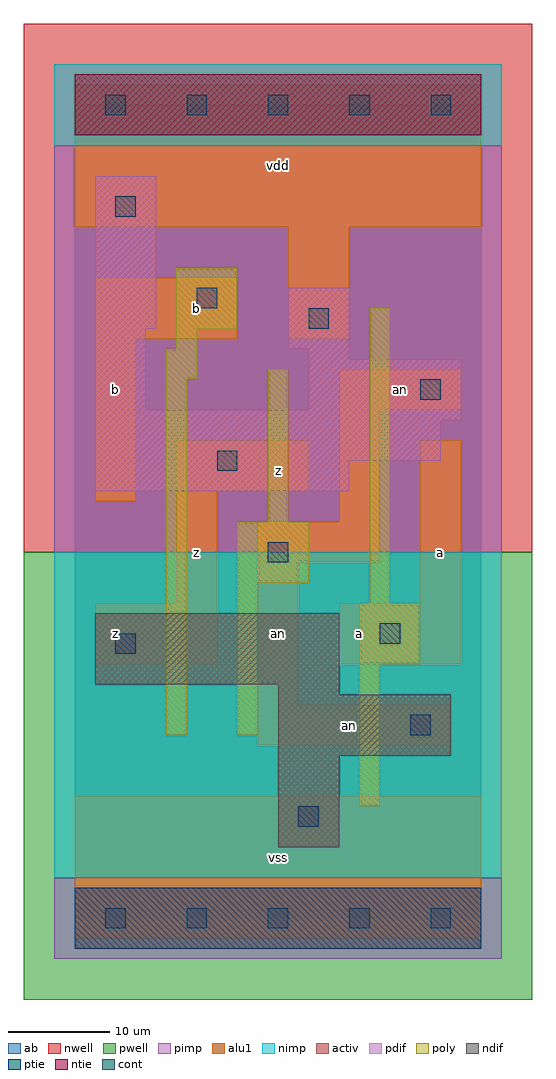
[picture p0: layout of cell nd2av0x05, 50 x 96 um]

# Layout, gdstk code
import gdstk
lib = gdstk.Library(unit=1e-6, precision=1e-09)
def R(c, l, rs):  # rectangles x0, y0, x1, y1
    for r in rs: c.add(gdstk.rectangle(r[:2], r[2:], *l))
def A(c, l, x, y, w, h, nx, ny, dx, dy):  # array of equal rectangles
    R(c, l, [(x+i*dx, y+j*dy, x+i*dx+w, y+j*dy+h) for i in range(nx) for j in range(ny)])
ndif = (3, 0)
pdif = (4, 0)
ntie = (5, 0)
ptie = (6, 0)
cont = (25, 0)
pwell = (41, 0)
nwell = (42, 0)
activ = (43, 0)
pimp = (44, 0)
nimp = (45, 0)
poly = (46, 0)
alu1 = (49, 0)
ab = (63, 0)

nd2av0x05 = lib.new_cell('nd2av0x05')
R(nd2av0x05, ndif, [(20,7,26,16), (20,16,37,22), (20,22,26,23), (2,23,26,30)])
R(nd2av0x05, pdif, [(2,42,27,45), (2,45,36,49), (2,49,38,50), (2,50,7,58), (23,50,38,55), (23,55,27,56), (21,56,27,62), (2,58,8,73)])
R(nd2av0x05, ntie, [(0,77,40,83)])
R(nd2av0x05, ptie, [(0,-3,40,3)])
A(nd2av0x05, cont, 3, -1, 2, 2, 5, 2, 8, 80)
R(nd2av0x05, cont, [(22,9,24,11), (33,18,35,20), (4,26,6,28), (30,27,32,29), (19,35,21,37), (14,44,16,46), (34,51,36,53), (23,58,25,60), (12,60,14,62), (4,69,6,71)])
R(nd2av0x05, pwell, [(-5,-8,45,36)])
R(nd2av0x05, nwell, [(-5,36,45,88)])
R(nd2av0x05, activ, [(0,-3,40,3), (20,7,26,16), (20,16,37,22), (20,22,26,23), (2,23,26,30), (2,42,27,45), (2,45,36,49), (2,49,38,50), (2,50,7,58), (23,50,38,55), (23,55,27,56), (21,56,27,62), (2,58,8,73), (0,77,40,83)])
R(nd2av0x05, pimp, [(-2,-4,42,4), (-2,36,42,76)])
R(nd2av0x05, nimp, [(-2,4,42,36), (-2,76,42,84)])
R(nd2av0x05, poly, [(28,11,30,25), (9,18,11,53), (16,18,18,33), (28,25,34,31), (29,31,31,60), (16,33,23,39), (19,39,21,54), (9,53,12,56), (10,56,12,58), (10,58,16,64)])
R(nd2av0x05, alu1, [(0,-2,40,12), (18,17,37,21), (18,21,22,35), (2,25,14,31), (26,25,38,31), (10,31,14,42), (34,31,38,47), (18,35,30,39), (26,39,30,50), (2,41,6,57), (10,42,23,47), (26,50,38,54), (2,57,16,63), (21,57,27,68), (0,68,40,82)])
R(nd2av0x05, ab, [(0,0,40,80)])
nd2av0x05.add(gdstk.Label('an', (20,28), layer=49, texttype=0))
nd2av0x05.add(gdstk.Label('an', (27,19), layer=49, texttype=0))
nd2av0x05.add(gdstk.Label('an', (32,52), layer=49, texttype=0))
nd2av0x05.add(gdstk.Label('z', (4,28), layer=49, texttype=0))
nd2av0x05.add(gdstk.Label('b', (4,52), layer=49, texttype=0))
nd2av0x05.add(gdstk.Label('z', (12,36), layer=49, texttype=0))
nd2av0x05.add(gdstk.Label('b', (12,60), layer=49, texttype=0))
nd2av0x05.add(gdstk.Label('vss', (20,6), layer=49, texttype=0))
nd2av0x05.add(gdstk.Label('a', (28,28), layer=49, texttype=0))
nd2av0x05.add(gdstk.Label('z', (20,44), layer=49, texttype=0))
nd2av0x05.add(gdstk.Label('vdd', (20,74), layer=49, texttype=0))
nd2av0x05.add(gdstk.Label('a', (36,36), layer=49, texttype=0))

lib.write_gds('nd2av0x05.gds')
